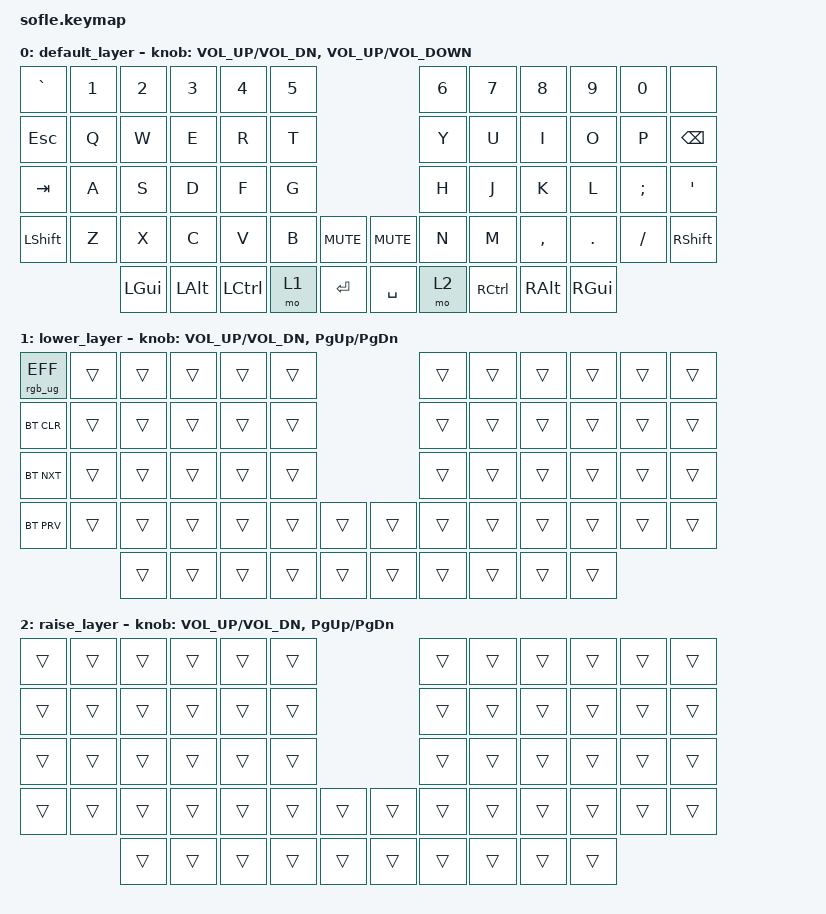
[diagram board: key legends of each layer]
#include <behaviors.dtsi>
#include <dt-bindings/zmk/bt.h>
#include <dt-bindings/zmk/keys.h>
#include <dt-bindings/zmk/rgb.h>

/ {
    keymap {
        compatible = "zmk,keymap";

        default_layer {
            bindings = <
&kp GRAVE  &kp N1  &kp N2    &kp N3    &kp N4     &kp N5                            &kp N6  &kp N7     &kp N8     &kp N9    &kp N0    &none
&kp ESC    &kp Q   &kp W     &kp E     &kp R      &kp T                             &kp Y   &kp U      &kp I      &kp O     &kp P     &kp BSPC
&kp TAB    &kp A   &kp S     &kp D     &kp F      &kp G                             &kp H   &kp J      &kp K      &kp L     &kp SEMI  &kp SQT
&kp LSHFT  &kp Z   &kp X     &kp C     &kp V      &kp B   &kp C_MUTE    &kp C_MUTE  &kp N   &kp M      &kp COMMA  &kp DOT   &kp FSLH  &kp RSHFT
                   &kp LGUI  &kp LALT  &kp LCTRL  &mo 1   &kp RET       &kp SPACE   &mo 2   &kp RCTRL  &kp RALT   &kp RGUI
            >;

            sensor-bindings =
                <&inc_dec_kp C_VOL_UP C_VOL_DN>,
                <&inc_dec_kp C_VOLUME_UP C_VOLUME_DOWN>;
        };

        lower_layer {
            bindings = <
&rgb_ug RGB_EFF  &trans  &trans  &trans  &trans  &trans                    &trans  &trans  &trans  &trans  &trans  &trans
&bt BT_CLR       &trans  &trans  &trans  &trans  &trans                    &trans  &trans  &trans  &trans  &trans  &trans
&bt BT_NXT       &trans  &trans  &trans  &trans  &trans                    &trans  &trans  &trans  &trans  &trans  &trans
&bt BT_PRV       &trans  &trans  &trans  &trans  &trans  &trans    &trans  &trans  &trans  &trans  &trans  &trans  &trans
                         &trans  &trans  &trans  &trans  &trans    &trans  &trans  &trans  &trans  &trans
            >;

            sensor-bindings =
                <&inc_dec_kp C_VOL_UP C_VOL_DN>,
                <&inc_dec_kp PG_UP PG_DN>;
        };

        raise_layer {
            bindings = <
&trans  &trans  &trans  &trans  &trans  &trans                    &trans  &trans  &trans  &trans  &trans  &trans
&trans  &trans  &trans  &trans  &trans  &trans                    &trans  &trans  &trans  &trans  &trans  &trans
&trans  &trans  &trans  &trans  &trans  &trans                    &trans  &trans  &trans  &trans  &trans  &trans
&trans  &trans  &trans  &trans  &trans  &trans  &trans    &trans  &trans  &trans  &trans  &trans  &trans  &trans
                &trans  &trans  &trans  &trans  &trans    &trans  &trans  &trans  &trans  &trans
            >;

            sensor-bindings = <&inc_dec_kp C_VOL_UP C_VOL_DN &inc_dec_kp PAGE_UP PAGE_DOWN>;
        };
    };
};
